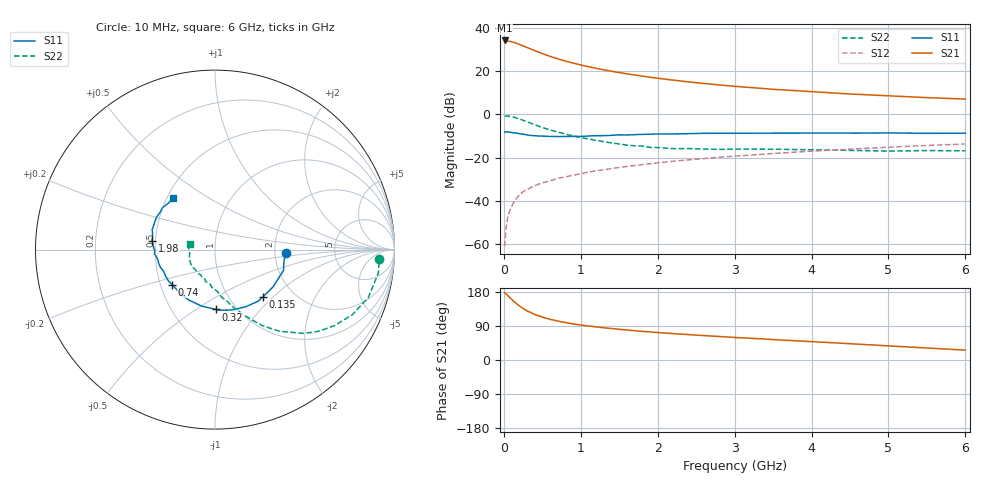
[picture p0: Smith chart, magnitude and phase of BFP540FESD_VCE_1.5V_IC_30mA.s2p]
! (c) 2015  Infineon Technologies AG, Munich
! Infineon Technologies  Discrete & RF Semiconductors
! BFP540FESD
! VCE =  1.5 V,  IC =  30 mA
! Common Emitter S-Parameters:  Nov 2015
# GHz  S  MA  R  50
!  f  S11  S21  S12  S22
! GHz  MAG  ANG  MAG  ANG  MAG  ANG  MAG  ANG
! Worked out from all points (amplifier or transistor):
!   210 points, 10 MHz to 6 GHz, reference 50 ohm
!   highest |S21| = 34.2 dB at 10 MHz (marker M1)
!   |S21| within 3 dB of that: start of sweep to 284.9 MHz
!   unconditionally stable (mu >= 1): start of sweep to 16.01 MHz; 1.5 GHz to end of sweep
!   at 185 MHz: K = 0.37, MSG = 35.3 dB, |S12| = -37.9 dB
!   at 1.52 GHz: K = 1.00, MAG = 21.4 dB, |S12| = -24.4 dB
!   at 6 GHz: K = 1.16, MAG = 7.9 dB, |S12| = -13.6 dB
!   S11 on the Smith chart (normalised r, x): 10 MHz: 2.30, -0.11; 135 MHz: 1.42, -0.87; 320 MHz: 0.81, -0.61; 740 MHz: 0.57, -0.25; 1.98 GHz: 0.48, +0.05; 6 GHz: 0.54, +0.36
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0.01  0.395 -2.9  51.45 177.6  0.0009 110.9  0.914 -3.4
0.02  0.3891 -8.5  49.77 176.2  0.0015 97.5  0.9173 -2.5
0.05  0.3989 -16.9  50.01 170.1  0.0042 88.0  0.9196 -8.2
0.1  0.3845 -32.8  48.02 159.9  0.0074 81.4  0.8948 -17.4
0.135  0.3748 -44.5  46.14 153.7  0.0097 77.0  0.8593 -22.9
0.15  0.3756 -49.6  45.51 150.9  0.0107 75.7  0.8467 -25.4
0.2  0.3619 -61.6  42.05 142.7  0.0136 75.1  0.7892 -32.4
0.26  0.3467 -76.3  38.01 134.8  0.0167 70.2  0.7207 -39.6
0.32  0.3335 -89.0  34.32 128.1  0.0191 67.5  0.6564 -45.0
0.4  0.3235 -103.4  29.9 120.2  0.0225 65.8  0.5797 -51.7
0.5  0.3164 -117.8  25.53 112.9  0.0262 65.5  0.4987 -58.1
0.6  0.3114 -128.4  22 107.3  0.0291 65.1  0.4375 -62.7
0.74  0.3087 -140.8  18.45 101.2  0.0344 64.8  0.375 -68.3
0.88  0.3122 -150.6  15.72 96.0  0.0386 65.2  0.325 -73.5
1.02  0.3121 -158.1  13.65 91.8  0.0434 64.6  0.2879 -78.0
1.42  0.3305 -173.7  9.841 82.4  0.057 63.7  0.2179 -92.3
1.98  0.3527 172.0  6.948 72.8  0.0753 61.4  0.1725 -112.7
2.02  0.3539 171.1  6.804 72.2  0.0766 61.2  0.1714 -114.0
3.1  0.3687 156.4  4.344 58.5  0.1118 55.4  0.1579 -141.6
4.1  0.3716 148.6  3.271 47.4  0.1449 48.9  0.1514 -157.9
5.1  0.3723 140.1  2.647 36.1  0.1785 40.7  0.1427 -174.2
6  0.3692 129.0  2.266 26.1  0.2078 33.1  0.1448 167.5
